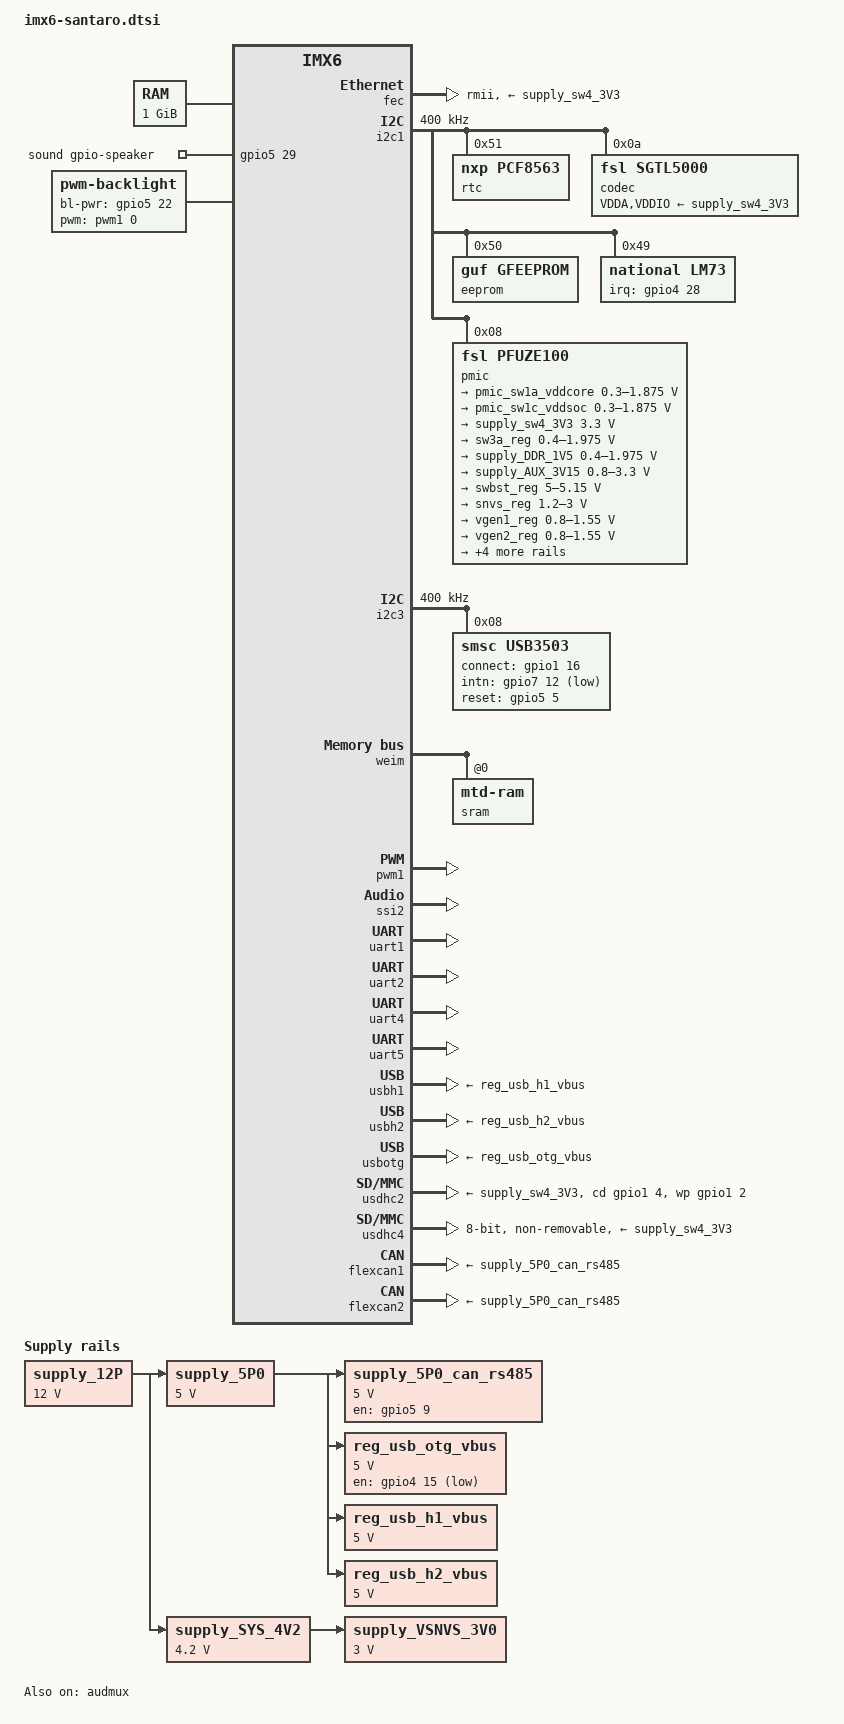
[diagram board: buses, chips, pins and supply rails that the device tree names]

/* From sabresd dtsi
 *	#include "imx6qdl-sabresd.dtsi"
 */
/ {
	aliases {
		mxcfb0 = &mxcfb1;
		mxcfb1 = &mxcfb2;
		serial0 = &uart2;
		serial1 = &uart5;
		serial2 = &uart1;
		serial3 = &uart4;
		i2c0 = &i2c1;
		i2c1 = &i2c2;
		i2c2 = &i2c3;
	};

	memory {
		reg = <0x10000000 0x40000000>;
	};

	leds {
		compatible = "gpio-leds";
	};

	gpioexport:gpio-export{
		compatible = "gpio-of-export";

	};

	pnglogo{
		compatible = "guf,png-logo";
		guf,logo-license = <0>;
		rotation = <0>;
	};

	clk_12mhz_ref:clk_12mhz_ref {
		compatible = "fixed-factor-clock";

		clocks = <&clks 201>;
		clock-names = "cko";
		clock-div = <1>;
		clock-mult = <1>;

		#clock-cells = <0>;
		clock-output-names = "ck12mhzref";

	};

	regulators:regulators {
		compatible = "simple-bus";

		supply_12P: 12P_supply {
			compatible = "regulator-fixed";
			regulator-name = "12P";
			regulator-min-microvolt = <12000000>;
			regulator-max-microvolt = <12000000>;
			regulator-always-on;
		};
		supply_5P0: 5P0_supply {
			compatible = "regulator-fixed";
			regulator-name = "5P0";
			regulator-min-microvolt = <5000000>;
			regulator-max-microvolt = <5000000>;
			regulator-always-on;
			vin-supply = <&supply_12P>;
		};
		supply_SYS_4V2: SYS_4V2_supply {
			compatible = "regulator-fixed";
			regulator-name = "SYS_4V2";
			regulator-min-microvolt = <4200000>;
			regulator-max-microvolt = <4200000>;
			regulator-always-on;
			vin-supply = <&supply_12P>;
		};

		supply_5P0_can_rs485: can_rs485_supply {
			compatible = "regulator-fixed";
			regulator-name = "5P0_CAN_RS485";
			regulator-min-microvolt = <5000000>;
			regulator-max-microvolt = <5000000>;
			gpio = <&gpio5 9 0>;
			startup-delay-us = <300>;	/* Measured on Santaro X1 S/N 01340152 */
			enable-active-high;

			vin-supply = <&supply_5P0>;
			pinctrl-names = "default";
			pinctrl-0 = <&pinctrl_5P0_can_1>;
		};

		reg_usb_otg_vbus: usb_otg_vbus {
			compatible = "regulator-fixed";
			regulator-name = "usb_otg_vbus";
			regulator-min-microvolt = <5000000>;
			regulator-max-microvolt = <5000000>;
			gpio = <&gpio4 15 0>;
			enable-active-low;

			vin-supply = <&supply_5P0>;

			pinctrl-names = "default";
			pinctrl-0 = <&pinctrl_usb_otg_vbus_1>;
		};

		reg_usb_h1_vbus: usb_h1_vbus {
			compatible = "regulator-fixed";
			regulator-name = "usb_h1_vbus";
			regulator-min-microvolt = <5000000>;
			regulator-max-microvolt = <5000000>;
			/*gpio = <&gpio1 0 0>; */
			/*enable-active-low; */

			regulator-always-on;
			vin-supply = <&supply_5P0>;

		};

		reg_usb_h2_vbus: usb_h2_vbus {
			compatible = "regulator-fixed";
			regulator-name = "usb_h2_vbus";
			regulator-min-microvolt = <5000000>;
			regulator-max-microvolt = <5000000>;
			vin-supply = <&supply_5P0> ;
			regulator-always-on;
		};

		supply_VSNVS_3V0: VSNVS_3V0_supply {
			compatible = "regulator-fixed";
			regulator-name = "VSNVS_3V0";
			regulator-min-microvolt = <3000000>;
			regulator-max-microvolt = <3000000>;
			regulator-always-on;
			vin-supply = <&supply_SYS_4V2>;
		};

	};

	sound {
		compatible = "fsl,imx6-santaro-sgtl5000", "fsl,imx-audio-sgtl5000";
		model = "sgtl5000-audio";
		ssi-controller = <&ssi2>;
		audio-codec = <&codec>;
		audio-routing =
			"MIC_IN", "Mic Jack",
			"Mic Jack", "Mic Bias",
			"Headphone Jack", "HP_OUT";
		mux-int-port = <2>;
		mux-ext-port = <4>;
		gpio-speaker = <&gpio5 29 0>;

		pinctrl-names = "default";
		pinctrl-0 = <&pinctrl_sound_1 >; 	
	};

	sound-hdmi {
		compatible = "fsl,imx6q-audio-hdmi",
			     "fsl,imx-audio-hdmi";
		model = "imx-audio-hdmi";
		hdmi-controller = <&hdmi_audio>;
		status = "disabled";
	};

	mxcfb1: fb@0 {
		compatible = "fsl,mxc_sdc_fb";
		disp_dev = "ldb";
		interface_pix_fmt = "RGB666";
		mode_str = "LDB-GUF-Ampire-AM800480R3TMQW";
		default_bpp = <16>;
		int_clk = <0>;
		late_init = <0>;

		rotate = <180>;
		 
		status = "disabled";
	};


	mxcfb2: fb@1 {
			compatible = "fsl,mxc_sdc_fb";
			disp_dev = "hdmi";
			interface_pix_fmt = "RGB24";
			mode_str ="1920x1080M@60";
			default_bpp = <24>;
			int_clk = <0>;
			late_init = <0>;
			status = "disabled";
	};


	backlight: backlight {
			   compatible = "pwm-backlight";
			   pwms = <&pwm1 0 50000>;
			   brightness-levels = <0 40 80 160 320 640 1280 2550>;
			   default-brightness-level = <7>;
			   default-blank = <1>;

			   pinctrl-names = "default";
			   pinctrl-0 = <&pinctrl_backlight>;
			   bl-pwr-gpio = <&gpio5 22 0>;
			   bl-pwr-act-low = <0>;
			   sysfs-name = "pwm-backlight.0";
	  };

	matrix-keypad {
		compatible = "gpio-matrix-keypad";
		status = "disabled";
		
		gpio-activelow;
		pinctrl-names = "default";
		pinctrl-0 = <
			&pinctrl_gpio_export_keypad_gpio_changeable
			&pinctrl_gpio_export_keypad_gpio_i2c
			&pinctrl_gpio_export_keypad_spi_gpio 
			>;

		debounce-delay-ms = <5>;
		col-scan-delay-us = <2>;

		col-gpios = 
					<&gpio4 20 0>,	/* KP_PIN_4, Col 0 */
					<&gpio4 18 0>,	/* KP_PIN_6, Col 1 */
					<&gpio4 16 0>,	/* KP_PIN_8, Col 2 */
					<&gpio1 19 0>,	/* KP_PIN_10,Col 3 */
					<&gpio4 13 0>,	/* KP_PIN_12,Col 4 */
					<&gpio4 10 0>,	/* KP_PIN_14,Col 5 */
					<&gpio4 7 0>,	/* KP_PIN_16,Col 6 */
					<&gpio4 9 0>;	/* KP_PIN_18,Col 7 */

		row-gpios = 
					<&gpio4 11 0>,	/* KP_PIN_3, Row 0 */
					<&gpio4 17 0>,	/* KP_PIN_5, Row 1 */
					<&gpio4 19 0>,	/* KP_PIN_7, Row 2 */
					<&gpio4 21 0>,	/* KP_PIN_9, Row 3 */
					<&gpio4 12 0>,	/* KP_PIN_11,Row 4 */
					<&gpio4 5 0>,	/* KP_PIN_13,Row 5 */
					<&gpio4 8 0>,	/* KP_PIN_15,Row 6 */
					<&gpio4 6 0>;	/* KP_PIN_17,Row 7 */

		linux,keymap = <
				0x00000002
				0x00010003
				0x00020004

				0x01000005
				0x01010006
				0x01020007

				0x02000008
				0x02010009
				0x0202000A

				0x03000037
				0x0301000B
				0x0302001C

				>;
	};

	hw_revision_fixup: hw_revision_fixup{
		/* Availble revisions with major and minor, first revision 
		   is the default where the devicetree works without any changes */
		revisions = <1 1
					 1 2
					 >;
	};

};

&anatop_vdd1p1{
		vin-supply = <&supply_VSNVS_3V0>;
};
&anatop_vdd3p0{
		vin-supply = <&reg_usb_h2_vbus>;
};
&anatop_vdd2p5{
		vin-supply = <&supply_VSNVS_3V0>;
};

/* This is not working, as the cpu_freq module ends up with 
   regulator-dummy as parent instead of reg arm */
&reg_arm{
/*	vin-supply = <&pmic_sw1a_vddcore>;*/
};
&reg_soc{
/*	vin-supply = <&pmic_sw1c_vddsoc>;*/
};
&reg_pu{
/*	vin-supply = <&pmic_sw1c_vddsoc>;*/
};

&gpio1{
	gpio-default-label = "gpio-%d";
	gpio-label-17 = "dig_out1";
	gpio-label-19 = "keypad_pin10";
};
&gpio4{
	gpio-default-label = "gpio-%d";
	gpio-label-11 = "keypad_pin3";
	gpio-label-20 = "keypad_pin4";
	gpio-label-17 = "keypad_pin5";
	gpio-label-18 = "keypad_pin6";
	gpio-label-19 = "keypad_pin7";
	gpio-label-16 = "keypad_pin8";
	gpio-label-21 = "keypad_pin9";
	gpio-label-13 = "keypad_pin11";
	gpio-label-12 = "keypad_pin12";
	gpio-label-5 = "keypad_pin13";
	gpio-label-10 = "keypad_pin14";
	gpio-label-8 = "keypad_pin15";
	gpio-label-7 = "keypad_pin16";
	gpio-label-6 = "keypad_pin17";
	gpio-label-9 = "keypad_pin18";
	gpio-label-31 = "clear_all";
};
&gpio5{
	gpio-default-label = "gpio-%d";
	gpio-label-23 = "dig_in2";
	gpio-label-25 = "dig_out2";
	gpio-label-24 = "dig_in1";
	gpio-label-28 = "mdb_wakeup_out";
	gpio-label-18 = "led";
};
&gpio7{
	gpio-default-label = "gpio-%d";
	gpio-label-7 = "keypad_vcc";
};

&gpioexport{
		/* Third gpio option are the flags, with custom meaning. */
		/*   bit 1   act-low	*/
		/*   bit 2   init high	*/

		gpio-grp-keypad_changeable{
			pinctrl-names = "default";
			pinctrl-0 = <&pinctrl_gpio_export_keypad_gpio_changeable>;

			direction-changeable;
			direction-input;
			
			/* Sysfs kp gpios with changeable direction */
			gpios =	
					<&gpio4 20 0>,	/*  KP_PIN_4 */
					<&gpio4 17 0>,	/*  KP_PIN_5 */
					<&gpio4 18 0>,	/*  KP_PIN_6 */
					<&gpio4 19 0>,	/*  KP_PIN_7 */
					<&gpio4 16 0>,	/*  KP_PIN_8 */
					<&gpio4 21 0>,	/*  KP_PIN_9 */
					<&gpio1 19 0>;	/*  KP_PIN_10 */

			status = "disabled"; /* enabled depending on the keypad= kernel option*/
		};
		gpio-grp-keypad_fixed_in_santaro{
			pinctrl-names = "default";
			pinctrl-0 = <&pinctrl_gpio_export_gpio_fixed_in_santaro>;

			direction-not-changeable;
			direction-input;
			
			/* Sysfs kp gpios with changeable direction */
			gpios =	
					<&gpio5 24 1>,	/* DIG_IN1 */
					<&gpio5 23 1>,	/* DIG_IN2 */
					<&gpio4 31 1>;	/* CLEAR_ALL */

			status = "okay";
		};
		gpio-grp-keypad_fixed_out_santaro{
			pinctrl-names = "default";
			pinctrl-0 = <&pinctrl_gpio_export_gpio_fixed_out_santaro>;

			direction-not-changeable;
			direction-output;
			
			/* Sysfs kp gpios with changeable direction */
			gpios =	
					<&gpio1 17 3>,	/*  DIG_OUT_1 */
					<&gpio5 25 3>,	/*  DIG_OUT_2 */
					<&gpio7 7 3>,	/*  KP5V */
                    <&gpio5 18 2>;  /*  LED1 */

			status = "okay";
		};
		gpio-grp-keypad_i2c{
			pinctrl-names = "default";
			pinctrl-0 = <&pinctrl_gpio_export_keypad_gpio_i2c>;

			direction-changeable;
			direction-input;

			gpios =	<&gpio4 12 0>,	/*  KP_PIN_11 */
					<&gpio4 13 0>;	/*  KP_PIN_12 */

			status = "disabled"; /* enabled depending on the keypad= kernel option*/
		};
		gpio-grp-keypad_spi{
			pinctrl-names = "default";
			pinctrl-0 = <&pinctrl_gpio_export_keypad_spi_gpio>;

			direction-changeable;
			direction-input;

			gpios =	
					<&gpio4 11 0>,	/* KP_PIN_3 */
					<&gpio4 5 0>,	/* KP_PIN_13 */
					<&gpio4 10 0>,	/* KP_PIN_14 */
					<&gpio4 8 0>,	/* KP_PIN_15 */
					<&gpio4 7 0>,	/* KP_PIN_16 */
					<&gpio4 6 0>,	/* KP_PIN_17 */
					<&gpio4 9 0>;	/* KP_PIN_18 */

			status = "disabled"; /* enabled depending on the keypad= kernel option*/
		};
};


&sdma{
	iram = <&ocram>;
};
&audmux {
	pinctrl-names = "default";
	pinctrl-0 = <&pinctrl_audmux_4>;
	status = "okay";
};

&cpu0 {
	arm-supply = <&pmic_sw1a_vddcore>;
	soc-supply = <&pmic_sw1c_vddsoc>;
	pu-supply = <&pu_dummy>; /* use pu_dummy if VDDSOC share with VDDPU */
};

&ecspi1 {
	fsl,spi-num-chipselects = <3>;
	cs-gpios = <&gpio4  9 0
				&gpio4 10 0
				&gpio4 11 0
		>;
	pinctrl-names = "default";
	pinctrl-0 = <&pinctrl_ecspi1_2 &pinctrl_ecspi1_chipselect>;
	status = "disabled";

	spidev0@0x00 {
		reg = <0>;
		compatible = "spidev";
		spi-max-frequency = <25000000>;
		status = "disabled";
	};
	spidev1@0x01 {
		reg = <1>;
		compatible = "spidev";
		spi-max-frequency = <25000000>;
		status = "disabled";
	};
	spidev2@0x02 {
		reg = <2>;
		compatible = "spidev";
		spi-max-frequency = <25000000>;
		status = "disabled";
	};
};

&fec {
	pinctrl-names = "default";
	pinctrl-0 = <&pinctrl_enet_4>;
	phy-mode = "rmii";
	status = "okay";
	local-mac-address = [00 07 8E 14 72 F8]; 
	phy-supply = <&supply_sw4_3V3>;
};

&gpc {
	fsl,cpu_pupscr_sw2iso = <0xf>;
	fsl,cpu_pupscr_sw = <0xf>;
	fsl,cpu_pdnscr_iso2sw = <0x1>;
	fsl,cpu_pdnscr_iso = <0x1>;
	fsl,ldo-bypass = <1>; /* use ldo-bypass, */
	fsl,wdog-reset = <1>; /* watchdog select of reset source */
	fsl,wdog-reset-srs = <0>; /* watchdog triggers the software reset */
	fsl,wdog-reset-wdog-b = <1>; /* watchdog triggers the external wdog reset */
	pu-supply = <&pu_dummy>; /* ldo-bypass:use pu_dummy if VDDSOC share with VDDPU */
};

&gpu {
	pu-supply = <&pu_dummy>; /* ldo-bypass:use pu_dummy if VDDSOC share with VDDPU */
};

&hdmi_audio {
	status = "disabled";
};

&hdmi_cec {
	pinctrl-names = "default";
	pinctrl-0 = <&pinctrl_hdmi_cec_2>;
	status = "disabled";
};

&hdmi_core {
	ipu_id = <0>;
	disp_id = <1>;
	status = "disabled";
	/*\FIXME  Make this dependend to keypad= "*/
};

&hdmi_video {
	fsl,phy_reg_vlev = <0x0294>;
	fsl,phy_reg_cksymtx = <0x800d>;
	/* fsl,hdcp; */
	status = "disabled";
	
/*	pinctrl-names = "default"; */
/*	pinctrl-0 = <&pinctrl_hdmi_hdcp_1>; */

};

&pu_dummy {
		regulator-always-on;
};
&sdma{
		fsl,sdma-ram-script-name = "imx/sdma/sdma-imx6q-to1.bin";
};

&i2c1 {
	clock-frequency = <400000>;
	pinctrl-names = "default", "gpio";
	pinctrl-0 = <&pinctrl_i2c1_2>;
    pinctrl-1 = <&pinctrl_i2c1_2_gpio>;
	status = "okay";

	gpio-scl = <&gpio5 26 0>;
	gpio-sda = <&gpio5 27 0>;

	rtc: rtcpcf8563@51 {
		compatible = "nxp,pcf8563";
		reg = <0x51>;

		pinctrl-names = "default";
		pinctrl-0 = <&pinctrl_rtc>;

		/*irq-gpio = <&gpio4 29 0>; *//* Not implemented ? */ 
	};

	codec: sgtl5000@0a {
		   compatible = "fsl,sgtl5000";
		   reg = <0x0a>;

		   clocks = <&clks 201>;
		   clock-names = "cko";

  	       VDDA-supply = <&supply_sw4_3V3>;
  	       VDDIO-supply = <&supply_sw4_3V3>;
	   };

	eeprom: eeprom@50 {
			compatible = "guf,gfeeprom";
			reg = <0x50>;
			pagesize = <32>;
			bytelen = <4096>;
			bus-id = <0>;
			flags = <0x80>;		/* AT24_FLAG_ADDR16 */
	   };

	lm73: lm73@49 {
			compatible = "national,lm73";
			reg = <0x49>;

			interrupts = <28 0x4>; 
			interrupt-parent = <&gpio4>;

			pinctrl-names = "default";
			pinctrl-0 = <&pinctrl_lm73_1>;

	   };

	pmic: pfuze100@08 {
		compatible = "fsl,pfuze100";
		reg = <0x08>;

		regulators {
			pmic_sw1a_vddcore: sw1ab {
				regulator-name = "VDD_CORE (sw1a)";
				regulator-min-microvolt = <300000>;
				regulator-max-microvolt = <1875000>;
				regulator-boot-on;
				regulator-always-on;
				regulator-ramp-delay = <6250>;

				default-voltage = <1300000>;
				
				vin-supply = <&supply_SYS_4V2>;
			};

			pmic_sw1c_vddsoc: sw1c {
				regulator-name = "VDD_SOC (sw1c)";
				regulator-min-microvolt = <300000>;
				regulator-max-microvolt = <1875000>;
				regulator-boot-on;
				regulator-always-on;
				regulator-ramp-delay = <6250>;

				default-voltage = <1300000>;

				vin-supply = <&supply_SYS_4V2>;
			};

			supply_sw4_3V3: sw2 {
				regulator-name = "SW4_3V3 (sw2)";
				regulator-min-microvolt = <3300000>;
				regulator-max-microvolt = <3300000>;
				regulator-boot-on;
				regulator-always-on;

				default-voltage = <3300000>;
				vin-supply = <&supply_SYS_4V2>;
			};

			sw3a_reg: sw3a {
				regulator-name = "DDR_1V5 (sw3a)";
				regulator-min-microvolt = <400000>;
				regulator-max-microvolt = <1975000>;
				regulator-boot-on;
				regulator-always-on;

				default-voltage = <1500000>;
				vin-supply = <&supply_SYS_4V2>;
			};

			supply_DDR_1V5: sw3b {
				regulator-name = "DDR_1V5 (sw3b)";
				regulator-min-microvolt = <400000>;
				regulator-max-microvolt = <1975000>;
				regulator-boot-on;
				regulator-always-on;

				default-voltage = <1500000>;
				vin-supply = <&supply_SYS_4V2>;
			};

			supply_AUX_3V15: sw4 {
				regulator-name = "AUX 3V15 (sw4)";
				regulator-min-microvolt = <800000>;
				regulator-max-microvolt = <3300000>;

				default-voltage = <3150000>;

				vin-supply = <&supply_SYS_4V2>;
			};

			swbst_reg: swbst {
				status = "disabled";
				regulator-min-microvolt = <5000000>;
				regulator-max-microvolt = <5150000>;
				regulator-boot-on;
				regulator-always-on;

				default-voltage = <5000000>;
			};

			snvs_reg: vsnvs {
				regulator-min-microvolt = <1200000>;
				regulator-max-microvolt = <3000000>;
				regulator-boot-on;
				regulator-always-on;

				default-voltage = <3000000>;
				vin-supply = <&supply_SYS_4V2>;
			};

			vref_reg: vrefddr {
				regulator-boot-on;
				regulator-always-on;

				default-voltage = <750000>;
				vin-supply = <&supply_DDR_1V5>;
			};

			vgen1_reg: vgen1 {
				regulator-min-microvolt = <800000>;
				regulator-max-microvolt = <1550000>;
				regulator-always-on;

				default-voltage = <1500000>;
				vin-supply = <&supply_AUX_3V15>;
			};

			vgen2_reg: vgen2 {
				regulator-min-microvolt = <800000>;
				regulator-max-microvolt = <1550000>;
				regulator-always-on;

				default-voltage = <1200000>;
				vin-supply = <&supply_AUX_3V15>;
			};

			vgen3_reg: vgen3 {
				regulator-min-microvolt = <1800000>;
				regulator-max-microvolt = <3300000>;
				regulator-always-on;

				default-voltage = <2500000>;
				vin-supply = <&supply_sw4_3V3>;
			};

			vgen4_reg: vgen4 {
				regulator-min-microvolt = <1800000>;
				regulator-max-microvolt = <3300000>;
				regulator-always-on;
				regulator-boot-on;

				default-voltage = <1800000>;
				vin-supply = <&supply_sw4_3V3>;
			};

			vgen5_reg: vgen5 {
				regulator-min-microvolt = <1800000>;
				regulator-max-microvolt = <3300000>;
				regulator-always-on;
				regulator-boot-on;

				default-voltage = <2800000>;
				vin-supply = <&supply_SYS_4V2>;
			};

			vgen6_reg: vgen6 {
				regulator-min-microvolt = <1800000>;
				regulator-max-microvolt = <3300000>;
				regulator-always-on;

				default-voltage = <2800000>;
				vin-supply = <&supply_SYS_4V2>;
			};
		};
	};

};

&i2c2 {
	clock-frequency = <100000>;
	pinctrl-names = "default", "gpio";
	pinctrl-0 = <&pinctrl_i2c2_2>;
	pinctrl-1 = <&pinctrl_i2c2_2_gpio>;
	status = "disabled";	/* will be enabled depending on the key pad kernel ootion */

	gpio-scl = <&gpio4 12 0>;
	gpio-sda = <&gpio4 13 0>;

	hdmi: edid@50 {
		compatible = "fsl,imx6-hdmi-i2c";
		reg = <0x50>;
		/* V1.0 boards have this on i2c1! */
	};


};

&i2c3 {
	clock-frequency = <400000>;
	pinctrl-names = "default", "gpio";
	pinctrl-0 = <&pinctrl_i2c3_5>;
	pinctrl-1 = <&pinctrl_i2c3_5_gpio>;
	status = "okay";

	gpio-scl = <&gpio1 5 0>;
	gpio-sda = <&gpio1 6 0>;
	
	eetii2c: eetii2c@04 {
		compatible = "eeti,eetii2c_ts";
		reg = <0x04>;

		pinctrl-names = "default";
		pinctrl-0 = <&pinctrl_ctouch>;

		reset-gpio = <&gpio1 20 0>;
		irq-gpio = <&gpio4 27 0>;
		wake-gpio = <&gpio1 18 0>;
		irq-flags = <0x00000004>;  /* IRQF_TRIGGER_HIGH */

		status = "disabled";  /* will be enabled from the guf xml setting */
	};

	egalaxi2c: egalaxi2c@2a {
		compatible = "eeti,exc3000_ts";
		reg = <0x2a>;

		pinctrl-names = "default";
		pinctrl-0 = <&pinctrl_ctouch>;

		reset-gpio = <&gpio1 20 0>;
		irq-gpio = <&gpio4 27 0>;
		wake-gpio = <&gpio1 18 0>;
		irq-flags = <0x00000004>;  /* IRQF_TRIGGER_HIGH */

		status = "disabled";  /* will be enabled from the guf xml setting */
	};


	pixcir: pixcir@5c {
		compatible = "auo,auo_pixcir_ts";
		reg = <0x5c>;

		pinctrl-names = "default";
		pinctrl-0 = <&pinctrl_ctouch>;

		interrupts = <27 0x2>; /* In the gpio4 interupt controller pin 27 irq is used, 0x2 = high-to-low-edge*/
		interrupt-parent = <&gpio4>;

		gpios = 
				<&gpio4 27 0>,  /* irq */
				<&gpio1 20 0>;  /* reset */
		x-size = <1024>;
		y-size = <600>;

		int-setting = <0>; /* AUO_PIXCIR_INT_PERIODICAL */

		status = "disabled";  /* will be enabled from the guf xml setting */
	};

	edt_ft5x06: edt_ft5x06@38 {
		compatible = "edt,ft5x06";
		reg = <0x38>;

		pinctrl-names = "default";
		pinctrl-0 = <&pinctrl_ctouch>;

		interrupts = <27 0x2>; /* In the gpio4 interupt controller pin 27 irq is used, 0x2 = high-to-low-edge*/
		interrupt-parent = <&gpio4>;

		reset-gpio = <&gpio1 20 0>;
		irq-gpio = <&gpio4 27 0>;
		wake-gpio = <&gpio1 18 0>;

		status = "disabled";  /* will be enabled from the guf xml setting */
	};

	stmpe610: stmpe610@44 {
		compatible = "st,stmpe610";
		reg = <0x44>;
		interrupts = <6 0x8>; /* In the gpio5 interupt controller pin 6 irq is used, 0x8 = active low level-sensitive*/
		interrupt-parent = <&gpio5>;
		interrupt-controller;

		pinctrl-names = "default";
		pinctrl-0 = <&pinctrl_rtouch>;

		status = "disabled"; /* will be enabled from the guf xml setting */
	
		stmpe_touchscreen {
			compatible = "st,stmpe-ts";
			st,sample-time = <4>;
			st,mod-12b = <1>;
			st,ref-sel = <0>;
			st,adc-freq = <1>;
			st,ave-ctrl = <3>;
			st,touch-det-delay = <3>;
			st,settling = <3>;
			st,fraction-z = <7>;
			st,i-drive = <0>;
		};
	};
	
	usb3503@08 {
		compatible = "smsc,usb3503";
		reg = <0x08>;
		connect-gpios = <&gpio1 16 0>;
		intn-gpios = <&gpio7 12 1>;
		reset-gpios = <&gpio5 5 0>;
		initial-mode = <1>;

		clocks = <&clks 201>;
		clock-names = "cko";

		pinctrl-names = "default";
		pinctrl-0 = <&pinctrl_usb3503 >;
		status = "ok";
	};
};

&weim {	
	pinctrl-names = "default";
	pinctrl-0 = <&pinctrl_weim_nor_1 &pinctrl_weim_cs0_1>;
	#address-cells = <2>;
	#size-cells = <1>;
	ranges = <0 0 0x08000000 0x08000000>;

	/*status = "disabled"; */

	sram: sram@0,0 {
		  compatible = "mtd-ram";
		  reg = <0 0 0x80000>;
		  /*	reg = <0x08000000 0x80000>; */
		  bank-width = <1>;
		  linux,mtd-name = "SRAM";

		  fsl,weim-cs-timing = <
			  /*
				 CSEN = 1 (CS Enable)
				 SWR = SRD = 0 (Write/Read Access asynchronous
				 MUM = 0 (Multiplexed Mode disable)
				 WFL = RFL = 1 (Write/Read Fix Latency Mode, No WAIT signal monitoring
				 CRE = 0 (CRE signal use is disabled)
				 CREP = 1 (For Non-PSRAM memory CREP value should be 1)
				 BL = 100b (Continuous burst length)
				 WC = 0 (Write access according to BL)
				 BCD = 00b (Devide EIM clock by 1)
				 BCS = 00b (0 EIM clock cycle additional delay)
				 DZS = 010b (16 bit port resides on DATA[31:16])
				 SP = 0 (User mode access allowed in the memory range of this CS area)
				 CSREC = 011b (3 EIM clock cycles min. width of CS, OE, WE)
				 AUS = 0 (Address shifted according to port size (DSZ config.))
				 GBC = 000b (min. of 0 EIM clock cycles before next access from different CS)
				 WP = 0 (Writes are allowed in memory range of this CS)
				 PSZ = 0000b (ignored when sync. Mode is disabled)
			   */
			  0x003204B1  /* EIM_CSnGCR1 */
			  0x00000001  /* EIM_CSnGCR2 */
			  /*
				 RWSC = 7 (7 clock cycles = 52 ns > 45 ns)
				 OEA = 3 (t_DOE, Clock cycles =  22,5 ns > 22 ns)
				 OEN = 0 (0 EIM clock cycles between end of access and OE negation)
				 RCSA = 0 (0 EIM clock cycles between beginning of read access and CS assertion)
				 RCSN = 0 (0 EIM clock cycles between end of read access and CS negation)
			   */
			  0x07023000  /* EIM_CS0RCR1 */

			  /*
				 RBEN = 0 (0 EIM clock cycles between end of read access an BE negation)
				 RBE = 1 (BE enabled during read access)
				 RBEA = 0 (0 EIM clock cayles between beginning of read access and BE assertion)
				 RL = 0 (Feedback clock loop delay is up to 2 cycles for BCD == 0)
				 PAT = 000b (Ignored, no page access (APR==0))
				 APR = 0 (single word async read access, word size defined by DZS == 16 bit)
			   */
			  0x00000008 /* EIM_CS0RCR2 */

			  /*
				 WAL = 0 (negation of ADV according to WADVN)
				 WBED = 0
				 WWSC = 7 (7 clock cycles = 52 ns > 45 ns)
				 WADVA = 0 (0 EIM clock cycles between beginning of access and ADV assertion)
				 WADVN = 1 (calculated as WADVN + WADVA + 1 = 2 EIM clock cycle in async. mode)
				 WBEA = 0 (0 EIM clock cycles between beginning of access and BE assertion)
				 WBEN = 0 (0 EIM clock cycles between end of access and WE negation)
				 WEA = 0 (0 EIM clock cycles between beginning of access an WE assertion)
				 WEN = 0 (0 EIM clock cycles between end of access and WE negation)
				 WCSA = 0 (0 EIM clock cycles between beginning of read access and CS assertion)
				 WCSN = 0 (0 EIM clock cycles between end of read access and CS negation)
			   */
			  0x07040000 /* EIM_CS0WCR1 */

			  0x00000000 /* EIM_CS0WCR2 */
			  >;
	  };
};

&iomuxc {
	pinctrl-names = "default";
	pinctrl-0 = <&pinctrl_hog_1 &pinctrl_pfid_0_2 &pinctrl_pfid_5_7>;
	

	wdog1{
		pinctrl_wdog1_1: wdoggrp-1 {
			fsl,pins = <
				MX6QDL_PAD_GPIO_9__WDOG1_B 0x80000000
				>;
			};
	};

	5P0_can{
		pinctrl_5P0_can_1: supply_5P0_cangrp-1 {
			fsl,pins = <
				MX6QDL_PAD_DISP0_DAT15__GPIO5_IO09  0x40000008 /* SION + DSE=120 Ohm, 120 from 3.0.35 kernel, default (NO_PAD_CTL) wasn't working*/
			>;
			};
	};
	pfid{
		pinctrl_pfid_3_4: pfid_3_4_grp{
			fsl,pins = <
				MX6QDL_PAD_NANDF_D3__GPIO2_IO03  0x80000000
				MX6QDL_PAD_NANDF_D4__GPIO2_IO04  0x80000000
			>;
			};
		pinctrl_pfid_0_2: pfid_0_2_grp{
			fsl,pins = <
				MX6QDL_PAD_NANDF_D0__GPIO2_IO00  0x80000000
				MX6QDL_PAD_NANDF_D1__GPIO2_IO01  0x80000000
				MX6QDL_PAD_NANDF_D2__GPIO2_IO02  0x80000000
			>;
			};
		pinctrl_pfid_5_7: pfid_5_7_grp{
			fsl,pins = <
				MX6QDL_PAD_NANDF_D5__GPIO2_IO05  0x80000000
				MX6QDL_PAD_NANDF_D6__GPIO2_IO06  0x80000000
				MX6QDL_PAD_NANDF_D7__GPIO2_IO07  0x80000000
			>;
			};
	};

	ecspi1{
		pinctrl_ecspi1_chipselect: pinctrl_ecspi1_gpio_csgrp-1 {
			fsl,pins = <
				MX6QDL_PAD_KEY_ROW2__ECSPI1_SS2		0x80000000			/*  KP_PIN_3 */
				MX6QDL_PAD_KEY_COL2__ECSPI1_SS1		0x80000000			/*  KP_PIN_14 */
				MX6QDL_PAD_KEY_ROW1__ECSPI1_SS0		0x80000000			/*  KP_PIN_18 */
			>;
			};
	};

	gpio_export{
		pinctrl_gpio_export_keypad_spi_gpio: pinctrl_gpio_kpgrp-1 {
			fsl,pins = <
				MX6QDL_PAD_KEY_ROW2__GPIO4_IO11		0x80000000			/*  KP_PIN_3 */
				MX6QDL_PAD_GPIO_19__GPIO4_IO05		0x80000000			/*  KP_PIN_13 */
				MX6QDL_PAD_KEY_COL2__GPIO4_IO10		0x80000000			/*  KP_PIN_14 */
				MX6QDL_PAD_KEY_COL1__GPIO4_IO08		0x80000000			/*  KP_PIN_15 */
				MX6QDL_PAD_KEY_ROW0__GPIO4_IO07		0x80000000			/*  KP_PIN_16 */
				MX6QDL_PAD_KEY_COL0__GPIO4_IO06		0x80000000			/*  KP_PIN_17 */
				MX6QDL_PAD_KEY_ROW1__GPIO4_IO09		0x80000000			/*  KP_PIN_18 */
			>;
			};
		pinctrl_gpio_export_keypad_gpio_changeable: pinctrl_gpio_kpgrp-2 {
			fsl,pins = <
				MX6QDL_PAD_DI0_PIN4__GPIO4_IO20		0x80000000			/*  KP_PIN_4 */
				MX6QDL_PAD_DI0_PIN15__GPIO4_IO17	0x80000000			/*  KP_PIN_5 */
				MX6QDL_PAD_DI0_PIN2__GPIO4_IO18		0x80000000			/*  KP_PIN_6 */
				MX6QDL_PAD_DI0_PIN3__GPIO4_IO19		0x80000000			/*  KP_PIN_7 */
				MX6QDL_PAD_DI0_DISP_CLK__GPIO4_IO16	0x80000000			/*  KP_PIN_8 */
				MX6QDL_PAD_DISP0_DAT0__GPIO4_IO21	0x80000000			/*  KP_PIN_9 */
				MX6QDL_PAD_SD1_DAT2__GPIO1_IO19		0x80000000			/*  KP_PIN_10 */
			>;
			};

		pinctrl_gpio_export_keypad_gpio_i2c: pinctrl_gpio_kpgrp-3 {
			fsl,pins = <
				MX6QDL_PAD_KEY_ROW3__GPIO4_IO13		0x80000000			/*  KP_PIN_11 */
				MX6QDL_PAD_KEY_COL3__GPIO4_IO12		0x80000000			/*  KP_PIN_12 */
			>;
			};
		pinctrl_gpio_export_gpio_fixed_in_santoka: pinctrl_gpio_kpgrp-4b {
			fsl,pins = <
				MX6QDL_PAD_DISP0_DAT10__GPIO4_IO31		0x80000000		/*  CLEAR ALL */
			>;
			};
		pinctrl_gpio_export_gpio_fixed_in_santaro: pinctrl_gpio_kpgrp-4 {
			fsl,pins = <
				MX6QDL_PAD_CSI0_DAT6__GPIO5_IO24		0x80000000		/*  DIG_IN_1 */
				MX6QDL_PAD_CSI0_DAT5__GPIO5_IO23		0x80000000		/*  DIG_IN_2 */
				MX6QDL_PAD_DISP0_DAT10__GPIO4_IO31		0x80000000		/*  CLEAR ALL */
			>;
			};
		pinctrl_gpio_export_gpio_fixed_out_santaro: pinctrl_gpio_kpgrp-5 {
			fsl,pins = <
				MX6QDL_PAD_SD1_DAT1__GPIO1_IO17			0x80000000		/*  DIG_OUT_1 */
				MX6QDL_PAD_CSI0_DAT7__GPIO5_IO25		0x80000000		/*  DIG_OUT_2 */
				MX6QDL_PAD_SD3_DAT3__GPIO7_IO07			0x80000000		/*  KP5V */
				/* OC not configured yet */
				MX6QDL_PAD_CSI0_PIXCLK__GPIO5_IO18		0x80000000		/*  LED1 */
			>;
			};
		pinctrl_gpio_export_gpio_fixed_out_santoka: pinctrl_gpio_kpgrp-6 {
			fsl,pins = <
				MX6QDL_PAD_DISP0_DAT3__GPIO4_IO24		0x80000000		/*  KP5V */
				/* OC not configured yet */
				MX6QDL_PAD_CSI0_PIXCLK__GPIO5_IO18		0x80000000		/*  LED1 */
			>;
			};

		pinctrl_gpio_export_wlan_ctrl: pinctrl_gpio_wlan-1 {
			fsl,pins = <
				MX6QDL_PAD_EIM_D26__GPIO3_IO26			0x80000000		/*  WLAN RESET */
				MX6QDL_PAD_EIM_D27__GPIO3_IO27			0x80000000		/*  WLAN_PD */
			>;
			};
		pinctrl_gpio_export_usb_ctrl: pinctrl_gpio_usb-1 {
			fsl,pins = <
				MX6QDL_PAD_DISP0_DAT4__GPIO4_IO25		0x80000000		/*  USB PCT EN */
			>;
			};
	};


	ldb{
		pinctrl_ldb_1: ldbgrp-1{
			fsl,pins = <
				MX6QDL_PAD_CSI0_DATA_EN__GPIO5_IO20 0x80000000 /* Sel 6/8*/
				>;
			};
	};

	ctouch{
		pinctrl_ctouch: ctouch-grp-1{
			fsl,pins = <
				MX6QDL_PAD_DISP0_DAT5__GPIO4_IO26    0x80000000			/*CTOUCH_INT2*/
				MX6QDL_PAD_DISP0_DAT6__GPIO4_IO27    0x80000000         /*CTOUCH_INT*/
				MX6QDL_PAD_SD1_CMD__GPIO1_IO18       0x80000000         /*CTOUCH_RESET2*/
				MX6QDL_PAD_SD1_CLK__GPIO1_IO20       0x80000000         /*CTOUCH_RESET*/
				>;
			};
	};
	rtouch{
		pinctrl_rtouch: rtouch-grp-1{
			fsl,pins = <
				MX6QDL_PAD_DISP0_DAT12__GPIO5_IO06   0x80000000         /*ResTOUCH_INT*/
				>;
			};
	};
	rtc{
		pinctrl_rtc: rtc-grp-1{
			fsl,pins = <
				MX6QDL_PAD_DISP0_DAT8__GPIO4_IO29   0x80000000         /*RTC INT*/
				>;
			};
	};
	usb3503{
		pinctrl_usb3503: pinctrl_usb3503-grp-1{
			fsl,pins = <
				MX6QDL_PAD_GPIO_17__GPIO7_IO12    0x80000000		/* USB INT */
				MX6QDL_PAD_DISP0_DAT11__GPIO5_IO05 0x80000000		/* USB Reset */
				MX6QDL_PAD_SD1_DAT0__GPIO1_IO16   0x00000038        /* USB Connect */ /* Has DSE_120Ohm in Q and no_pad_ctrl in dl on 3.0.35*/
				>;
			};
	};

	sound {
		pinctrl_sound_1: sound_grp-1 {
			fsl,pins = <
				MX6QDL_PAD_CSI0_DAT11__GPIO5_IO29   0x80000000  /* Speaker ON */
			>;
		};
	};

	/* System wide pin configs */
	hog {
		pinctrl_hog_1: hoggrp-1 {
			fsl,pins = <
				/* Clock out 12Mhz Ref */
				MX6QDL_PAD_CSI0_MCLK__CCM_CLKO1		0x17059  /* PAD_CTL_PKE | PAD_CTL_PUE | PAD_CTL_PUS_47K_UP | PAD_CTL_SPEED_LOW | PAD_CTL_DSE_80ohm | PAD_CTL_SRE_FAST | PAD_CTL_HYS */
															 /* (1 << 12)   | (1 << 13)   |(1 << 14)           | (1 << 6)          | (3 << 3)          |(1 << 0)          | (1 << 16)   */
			>;
		};
	};


};

&wdog1 {
	fsl,default-timeout = <60>;	/* Default timeout on seconds */
	fsl,reset-wdog-b = <1>;		/* watchdog triggers the external wdog reset */

	pinctrl-names = "default";
	pinctrl-0 = <&pinctrl_wdog1_1>;
};


&pwm1 {
	pinctrl-names = "default";
	pinctrl-0 = <&pinctrl_pwm1_1>;
	status = "okay";
};

&ssi2 {
	fsl,mode = "i2s-master";
	status = "okay";
};

&uart1 {
	pinctrl-names = "default";
	pinctrl-0 = <&pinctrl_uart1_2>;
	status = "okay";

	rs485-mode;
	/* rs485-mode-half-duplex; */
	rs485-tx-enable-gpio = <&gpio7 8 0>;
	
	rs485-supply = <&supply_5P0_can_rs485>;
};

&uart2 {
	pinctrl-names = "default";
	pinctrl-0 = <&pinctrl_uart2_3>;
	status = "okay";
};
&uart4 {
	pinctrl-names = "default";
	pinctrl-0 = <&pinctrl_uart4_2>;
	status = "okay";
};
&uart5 {
	compatible = "fsl,imx-mdb-guf";
	/*,"fsl,imx6q-uart", "fsl,imx21-uart";*/

	mdb-wakeup-gpio = <&gpio5 28 0>;

	pinctrl-names = "default";
	pinctrl-0 = <&pinctrl_uart5_rts_cts_hw1_1>;
	status = "okay";
};
&hw_revision_fixup {
	uart5_hw1_2 {
		overwrite = < 1 2 &uart5>;  /* <   major minor node */
		pinctrl-0 = <&pinctrl_uart5_rts_cts_hw1_2>;
	};
};

&usbh1 {
	vbus-supply = <&reg_usb_h1_vbus>;

	gpio-vbus = <&gpio1 0 0>;

	pinctrl-names = "default";
	pinctrl-0 = <&pinctrl_usb_h1_vbus_1>;

	status = "okay";
};
&usbh2 {
	vbus-supply = <&reg_usb_h2_vbus>;
	osc-clkgate-delay = <0x3>;

	pinctrl-names = "idle", "active";
	pinctrl-0 = <&pinctrl_usbh2_1>;
	pinctrl-1 = <&pinctrl_usbh2_active_1>;

	status = "okay";
};

&usbotg {
	vbus-supply = <&reg_usb_otg_vbus>;
	pinctrl-names = "default";
	pinctrl-0 = <&pinctrl_usbotg_1>;
	disable-over-current;
	status = "okay";
};

/* sdcard */
&usdhc2 {
	pinctrl-names = "default";
	pinctrl-0 = <&pinctrl_usdhc2_2>;
	cd-gpios = <&gpio1 4 0>;
	wp-gpios = <&gpio1 2 0>;
	no-1-8-v;
	keep-power-in-suspend;
	enable-sdio-wakeup;

	vmmc-supply = <&supply_sw4_3V3>;
	status = "okay";
};

/* emmc */
&usdhc4 {
	pinctrl-names = "default";
	pinctrl-0 = <&pinctrl_usdhc4_1>;
	bus-width = <8>;
	non-removable;
	no-1-8-v;
	keep-power-in-suspend;

	vmmc-supply = <&supply_sw4_3V3>;

	status = "okay";
};

&vpu {
	pu-supply = <&pu_dummy>; /* ldo-bypass:use pu_dummy if VDDSOC share with VDDPU */
};


&flexcan1 {
	pinctrl-names = "default";
	pinctrl-0 = <&pinctrl_flexcan1_3>;
	status = "okay";
	
	xceiver-supply = <&supply_5P0_can_rs485>;
};

&flexcan2 {
	pinctrl-names = "default";
	pinctrl-0 = <&pinctrl_flexcan2_2>;
	status = "okay";
 	
	xceiver-supply = <&supply_5P0_can_rs485>;
};

&ldb {
	ipu_id = <0>;
	disp_id = <0>;
	sec_ipu_id = <0>;
	ext_ref = <1>;
	mode = "sin0"; 
	sec_ipu_id = <0>;
	sec_disp_id = <1>;
	display = <&display1>;

	mapping = "SPWG";

	pinctrl-names = "default";
	pinctrl-0 = <&pinctrl_ldb_1>;

	sel6_8-gpio = <&gpio5 20 0>;
	sel6_8-polarity = <0>;
	lvds-channels = <3>;

	status = "disabled";


	display1: display1 {
		bits-per-pixel = <16>;
		bus-width = <24>;

		power-on-off-timings = <5 210 210  10 1000>;
		backlight = <&backlight>;
		lcd-enable-gpio = <&gpio5 21 0>;
		pinctrl-names = "default";
		pinctrl-0 = <&pinctrl_lcd_enable>;

		display-timings {
			native-mode = <&timing0>;
			timing0: timing0 {
				clock-frequency = <35339000>;
				hactive = <800>;
				vactive = <480>;
				hfront-porch = <100>;
				hback-porch = <100>;
				hsync-len = <24>;
				vback-porch = <5>;
				vfront-porch = <5>;
				vsync-len = <3>;

				fb-sync-flags = <0>;

			};
		};
	};
};

/* LDO mode section */
/*#include "imx6_guf_ldo_mode.dtsi" */
